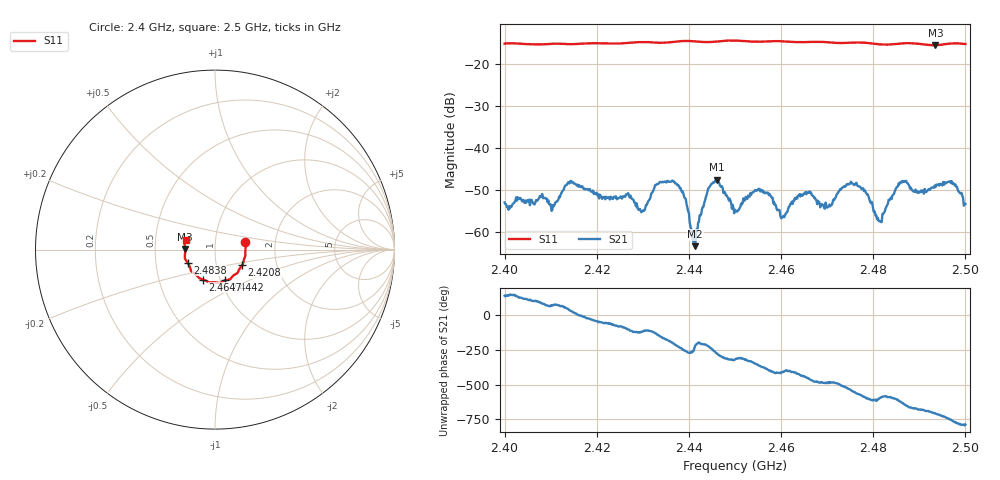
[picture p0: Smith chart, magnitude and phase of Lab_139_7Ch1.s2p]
# Hz S RI R 50
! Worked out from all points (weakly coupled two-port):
!   601 points, 2.4 GHz to 2.5 GHz, reference 50 ohm
!   highest |S21| = -47.58 dB at 2.446 GHz (marker M1); lowest = -63.4 dB at 2.4413 GHz (marker M2)
!   lowest |S11| = -15.6 dB at 2.4935 GHz (marker M3), VSWR 1.40, Z = 35.8 + j0.208 ohm
!   |S11| at or under -10 dB: start of sweep to end of sweep
!   S12 and S22 are empty: the file has one direction only
!   S11 on the Smith chart (normalised r, x): 2.4 GHz: 1.40, +0.12; 2.4208 GHz: 1.33, -0.24; 2.4442 GHz: 1.05, -0.37; 2.4647 GHz: 0.83, -0.29; 2.4838 GHz: 0.73, -0.11; 2.5 GHz: 0.72, +0.08
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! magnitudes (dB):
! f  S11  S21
! 2.4 GHz  -15.2  -53.0
! 2.4103 GHz  -15.3  -54.9
! 2.4167 GHz  -15.3  -49.4
! 2.4208 GHz  -15.2  -51.5
! 2.43 GHz  -14.9  -54.9
! 2.4333 GHz  -15.0  -48.6
! 2.4382 GHz  -14.7  -49.6
! 2.4413 GHz  -14.7  -63.4
! 2.4442 GHz  -14.9  -49.8
! 2.446 GHz  -14.8  -47.6
! 2.45 GHz  -14.5  -54.7
! 2.4555 GHz  -14.8  -50.4
! 2.4603 GHz  -14.7  -56.5
! 2.4647 GHz  -14.9  -51.4
! 2.4667 GHz  -14.8  -51.3
! 2.4703 GHz  -14.9  -54.0
! 2.4767 GHz  -15.0  -49.1
! 2.4813 GHz  -15.4  -57.4
! 2.4833 GHz  -15.5  -52.4
! 2.4838 GHz  -15.4  -51.8
! 2.4935 GHz  -15.6  -49.4
! 2.5 GHz  -15.3  -53.3
